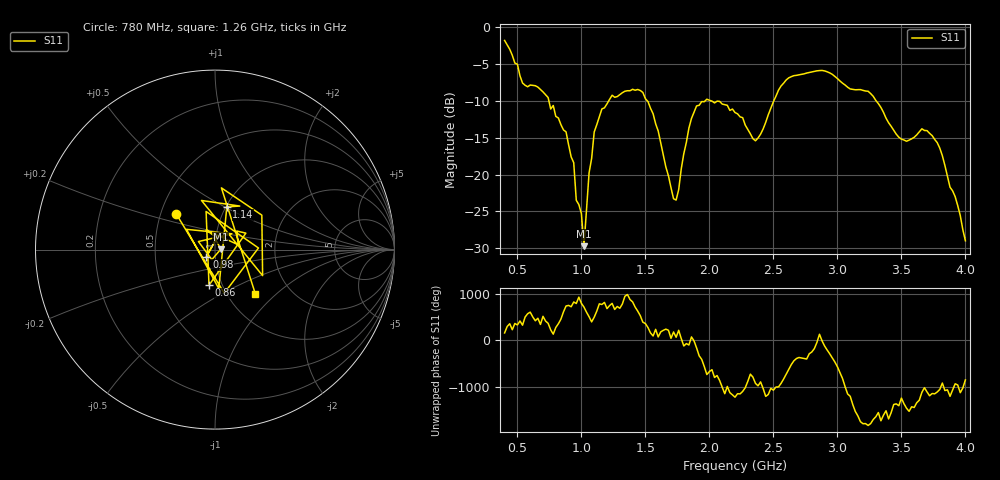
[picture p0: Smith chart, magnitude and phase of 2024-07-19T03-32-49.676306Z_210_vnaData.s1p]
!Created with skrf (http://scikit-rf.org).
# Hz S RI R 50.0
!freq ReS11 ImS11
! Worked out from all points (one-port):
!   181 points, 400 MHz to 4 GHz, reference 50 ohm
!   lowest |S11| = -29.7 dB at 1.02 GHz (marker M1), VSWR 1.07, Z = 53.4 + j0.252 ohm
!   |S11| at or under -10 dB: 746 MHz to 1.213 GHz (467.1 MHz wide, 47.7 % of centre); 2.017 GHz to 2.503 GHz (485.8 MHz wide, 21.5 % of centre); 3.303 GHz to end of sweep (the widest 3 of 4)
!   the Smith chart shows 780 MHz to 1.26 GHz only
!   S11 on the Smith chart (normalised r, x): 780 MHz: 0.60, +0.26; 860 MHz: 0.87, -0.36; 980 MHz: 0.91, -0.07; 1.14 GHz: 1.01, +0.51; 1.26 GHz: 1.34, -0.75
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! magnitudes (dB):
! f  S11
! 400 MHz  -1.8
! 540 MHz  -7.6
! 780 MHz  -10.6
! 860 MHz  -13.9
! 940 MHz  -18.4
! 960 MHz  -23.5
! 980 MHz  -24.1
! 1.02 GHz  -29.7
! 1.06 GHz  -19.8
! 1.1 GHz  -14.2
! 1.14 GHz  -12.1
! 1.26 GHz  -9.5
! 1.3 GHz  -9.1
! 1.48 GHz  -8.8
! 1.6 GHz  -14.1
! 1.72 GHz  -23.3
! 1.76 GHz  -22.0
! 1.84 GHz  -13.7
! 1.9 GHz  -10.7
! 2.2 GHz  -11.6
! 2.36 GHz  -15.4
! 2.66 GHz  -6.6
! 3.1 GHz  -8.4
! 3.24 GHz  -8.7
! 3.56 GHz  -15.3
! 3.66 GHz  -13.8
! 3.78 GHz  -15.7
! 4 GHz  -29.0
